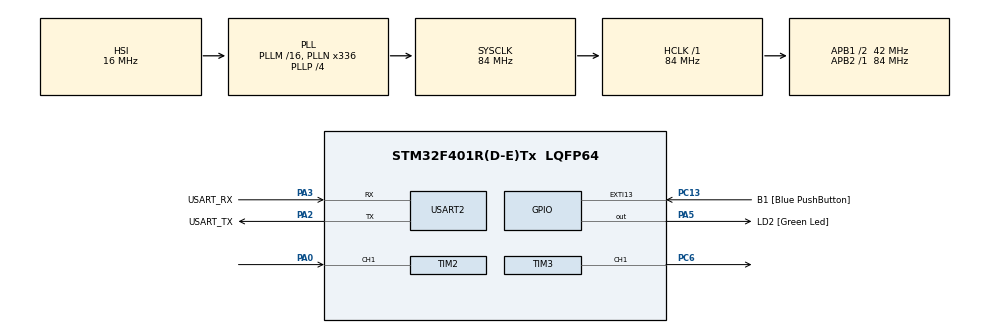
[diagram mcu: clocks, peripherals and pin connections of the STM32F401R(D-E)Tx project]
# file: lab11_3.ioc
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Mcu.Family=STM32F4
Mcu.Name=STM32F401R(D-E)Tx
Mcu.Package=LQFP64
NVIC.PriorityGroup=NVIC_PRIORITYGROUP_0
NVIC.TIM2_IRQn=true\:0\:0\:false\:false\:true\:true\:true
NVIC.TIM3_IRQn=true\:0\:0\:false\:false\:true\:true\:true
NVIC.USART2_IRQn=true\:0\:0\:false\:false\:true\:true\:true
PA0-WKUP.Signal=S_TIM2_CH1_ETR
PA13.GPIO_Label=TMS
PA13.Mode=Serial_Wire
PA13.Signal=SYS_JTMS-SWDIO
PA14.GPIO_Label=TCK
PA14.Mode=Serial_Wire
PA14.Signal=SYS_JTCK-SWCLK
PA2.GPIO_Label=USART_TX
PA2.GPIO_Mode=GPIO_MODE_AF_PP
PA2.GPIO_PuPd=GPIO_NOPULL
PA2.GPIO_Speed=GPIO_SPEED_FREQ_LOW
PA2.Mode=Asynchronous
PA2.Signal=USART2_TX
PA3.GPIO_Label=USART_RX
PA3.GPIO_Mode=GPIO_MODE_AF_PP
PA3.GPIO_PuPd=GPIO_NOPULL
PA3.GPIO_Speed=GPIO_SPEED_FREQ_LOW
PA3.Mode=Asynchronous
PA3.Signal=USART2_RX
PA5.GPIO_Label=LD2 [Green Led]
PA5.GPIO_Mode=GPIO_MODE_OUTPUT_PP
PA5.GPIO_PuPd=GPIO_NOPULL
PA5.GPIO_Speed=GPIO_SPEED_FREQ_LOW
PA5.Signal=GPIO_Output
PB3.GPIO_Label=SWO
PB3.Signal=SYS_JTDO-SWO
PC13-ANTI_TAMP.GPIO_Label=B1 [Blue PushButton]
PC13-ANTI_TAMP.GPIO_ModeDefaultEXTI=GPIO_MODE_IT_FALLING
PC13-ANTI_TAMP.GPIO_PuPd=GPIO_NOPULL
PC13-ANTI_TAMP.Signal=GPXTI13
PC14-OSC32_IN.Mode=LSE-External-Oscillator
PC14-OSC32_IN.Signal=RCC_OSC32_IN
PC15-OSC32_OUT.Mode=LSE-External-Oscillator
PC15-OSC32_OUT.Signal=RCC_OSC32_OUT
PC6.Signal=S_TIM3_CH1
PH0\ -\ OSC_IN.Mode=HSE-External-Clock-Source
PH0\ -\ OSC_IN.Signal=RCC_OSC_IN
PH1\ -\ OSC_OUT.Mode=HSE-External-Clock-Source
PH1\ -\ OSC_OUT.Signal=RCC_OSC_OUT
ProjectManager.HeapSize=0x200
ProjectManager.StackSize=0x400
ProjectManager.TargetToolchain=STM32CubeIDE
RCC.48MHZClocksFreq_Value=48000000
RCC.AHBFreq_Value=84000000
RCC.APB1CLKDivider=RCC_HCLK_DIV2
RCC.APB1Freq_Value=42000000
RCC.APB1TimFreq_Value=84000000
RCC.APB2Freq_Value=84000000
RCC.APB2TimFreq_Value=84000000
RCC.CortexFreq_Value=84000000
RCC.HCLKFreq_Value=84000000
RCC.HSE_VALUE=8000000
RCC.HSI_VALUE=16000000
RCC.PLLN=336
RCC.PLLP=RCC_PLLP_DIV4
RCC.PLLQ=7
RCC.SYSCLKFreq_VALUE=84000000
RCC.SYSCLKSource=RCC_SYSCLKSOURCE_PLLCLK
RCC.VCOOutputFreq_Value=336000000
SH.S_TIM2_CH1_ETR.0=TIM2_CH1,Input_Capture1_from_TI1
SH.S_TIM3_CH1.0=TIM3_CH1,PWM Generation1 CH1
TIM2.Channel-Input_Capture1_from_TI1=TIM_CHANNEL_1
TIM2.Period=84000000
TIM3.Channel-PWM\ Generation1\ CH1=TIM_CHANNEL_1
TIM3.Period=42000
TIM3.Prescaler=10
TIM3.TIM_MasterOutputTrigger=TIM_TRGO_UPDATE
USART2.VirtualMode=VM_ASYNC
VP_TIM2_VS_ClockSourceINT.Mode=Internal
VP_TIM3_VS_ClockSourceINT.Mode=Internal
board=NUCLEO-F401RE

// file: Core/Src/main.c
/* USER CODE BEGIN Header */
/**
  ******************************************************************************
  * @file           : main.c
  * @brief          : Main program body
  ******************************************************************************
  * @attention
  *
  * Copyright (c) 2023 STMicroelectronics.
  * All rights reserved.
  *
  * This software is licensed under terms that can be found in the LICENSE file
  * in the root directory of this software component.
  * If no LICENSE file comes with this software, it is provided AS-IS.
  *
  ******************************************************************************
  */
/* USER CODE END Header */
#include "main.h"

/* USER CODE BEGIN Includes */
#include <string.h>

/* USER CODE END Includes */

/* USER CODE BEGIN PD */
#define KP 100.0
#define KI 10
#define DT 0.0054
#define KD 0.0
/* USER CODE END PD */

TIM_HandleTypeDef htim2;
TIM_HandleTypeDef htim3;

UART_HandleTypeDef huart2;

/* USER CODE BEGIN PV */
volatile float freq, oldError, setpoint,i;
volatile uint8_t newFreq, correctlyReceivedData, correctlySentData, less1Hz;

/* USER CODE END PV */

void SystemClock_Config(void);
static void MX_GPIO_Init(void);
static void MX_USART2_UART_Init(void);
static void MX_TIM2_Init(void);
static void MX_TIM3_Init(void);

int main(void)
{

  /* MCU Configuration--------------------------------------------------------*/

  /* Reset of all peripherals, Initializes the Flash interface and the Systick. */
  HAL_Init();

  /* Configure the system clock */
  SystemClock_Config();

  /* Initialize all configured peripherals */
  MX_GPIO_Init();
  MX_USART2_UART_Init();
  MX_TIM2_Init();
  MX_TIM3_Init();
  /* USER CODE BEGIN 2 */
  __HAL_TIM_ENABLE_IT(&htim2, TIM_IT_UPDATE );
  HAL_TIM_IC_Start_IT(&htim3,TIM_CHANNEL_1);
  HAL_TIM_IC_Start_IT(&htim2,TIM_CHANNEL_1);
  HAL_TIM_PWM_Start(&htim3,TIM_CHANNEL_1);
  __HAL_TIM_SET_COMPARE(&htim3,TIM_CHANNEL_1,420);
  char character[25];
  HAL_UART_Receive_IT(&huart2, character, sizeof(character));
  setpoint = 30;
  uint8_t canSend = 1;

  /* USER CODE END 2 */

  /* Infinite loop */
  /* USER CODE BEGIN WHILE */
  while (1)
  {
	  if(newFreq && freq < 100){
		  newFreq = 0;
		  unsigned int frqI = round(freq);
		  char buffer[11]= "Speed: 00\n";
		  uint8_t SpeedD = frqI/10;
		  uint8_t SpeedU = frqI-10*SpeedD;
		  buffer[7] = SpeedD + 0x30;
		  buffer[8] = SpeedU + 0x30;
		  //sprintf(buffer, 'Speed: %u', frqI);
		  if(canSend) HAL_UART_Transmit_IT(&huart2, buffer, sizeof(buffer));
	  }

	  if(correctlyReceivedData){
		  correctlyReceivedData = 0;
		  if(character[19]>= 0x30 && character[19]<= 0x39 && character[18]>= 0x30 && character[18]<= 0x39 ){
			  setpoint = (character[19] -0x30) + 10 * (character[18] -0x30);
		  }
		  HAL_UART_Receive_IT(&huart2, character, sizeof(character));

	  }

	  if(correctlySentData){
		  correctlySentData = 0;
		  canSend = 1;
	  }

    /* USER CODE END WHILE */

  }
}

void SystemClock_Config(void)
{
  RCC_OscInitTypeDef RCC_OscInitStruct = {0};
  RCC_ClkInitTypeDef RCC_ClkInitStruct = {0};

  /** Configure the main internal regulator output voltage
  */
  __HAL_RCC_PWR_CLK_ENABLE();
  __HAL_PWR_VOLTAGESCALING_CONFIG(PWR_REGULATOR_VOLTAGE_SCALE2);
  /** Initializes the RCC Oscillators according to the specified parameters
  * in the RCC_OscInitTypeDef structure.
  */
  RCC_OscInitStruct.OscillatorType = RCC_OSCILLATORTYPE_HSI;
  RCC_OscInitStruct.HSIState = RCC_HSI_ON;
  RCC_OscInitStruct.HSICalibrationValue = RCC_HSICALIBRATION_DEFAULT;
  RCC_OscInitStruct.PLL.PLLState = RCC_PLL_ON;
  RCC_OscInitStruct.PLL.PLLSource = RCC_PLLSOURCE_HSI;
  RCC_OscInitStruct.PLL.PLLM = 16;
  RCC_OscInitStruct.PLL.PLLN = 336;
  RCC_OscInitStruct.PLL.PLLP = RCC_PLLP_DIV4;
  RCC_OscInitStruct.PLL.PLLQ = 7;
  if (HAL_RCC_OscConfig(&RCC_OscInitStruct) != HAL_OK)
  {
    Error_Handler();
  }
  /** Initializes the CPU, AHB and APB buses clocks
  */
  RCC_ClkInitStruct.ClockType = RCC_CLOCKTYPE_HCLK|RCC_CLOCKTYPE_SYSCLK
                              |RCC_CLOCKTYPE_PCLK1|RCC_CLOCKTYPE_PCLK2;
  RCC_ClkInitStruct.SYSCLKSource = RCC_SYSCLKSOURCE_PLLCLK;
  RCC_ClkInitStruct.AHBCLKDivider = RCC_SYSCLK_DIV1;
  RCC_ClkInitStruct.APB1CLKDivider = RCC_HCLK_DIV2;
  RCC_ClkInitStruct.APB2CLKDivider = RCC_HCLK_DIV1;

  if (HAL_RCC_ClockConfig(&RCC_ClkInitStruct, FLASH_LATENCY_2) != HAL_OK)
  {
    Error_Handler();
  }
}

static void MX_TIM2_Init(void)
{

  TIM_ClockConfigTypeDef sClockSourceConfig = {0};
  TIM_MasterConfigTypeDef sMasterConfig = {0};
  TIM_IC_InitTypeDef sConfigIC = {0};

  htim2.Instance = TIM2;
  htim2.Init.Prescaler = 0;
  htim2.Init.CounterMode = TIM_COUNTERMODE_UP;
  htim2.Init.Period = 84000000;
  htim2.Init.ClockDivision = TIM_CLOCKDIVISION_DIV1;
  htim2.Init.AutoReloadPreload = TIM_AUTORELOAD_PRELOAD_DISABLE;
  if (HAL_TIM_Base_Init(&htim2) != HAL_OK)
  {
    Error_Handler();
  }
  sClockSourceConfig.ClockSource = TIM_CLOCKSOURCE_INTERNAL;
  if (HAL_TIM_ConfigClockSource(&htim2, &sClockSourceConfig) != HAL_OK)
  {
    Error_Handler();
  }
  if (HAL_TIM_IC_Init(&htim2) != HAL_OK)
  {
    Error_Handler();
  }
  sMasterConfig.MasterOutputTrigger = TIM_TRGO_RESET;
  sMasterConfig.MasterSlaveMode = TIM_MASTERSLAVEMODE_DISABLE;
  if (HAL_TIMEx_MasterConfigSynchronization(&htim2, &sMasterConfig) != HAL_OK)
  {
    Error_Handler();
  }
  sConfigIC.ICPolarity = TIM_INPUTCHANNELPOLARITY_RISING;
  sConfigIC.ICSelection = TIM_ICSELECTION_DIRECTTI;
  sConfigIC.ICPrescaler = TIM_ICPSC_DIV1;
  sConfigIC.ICFilter = 0;
  if (HAL_TIM_IC_ConfigChannel(&htim2, &sConfigIC, TIM_CHANNEL_1) != HAL_OK)
  {
    Error_Handler();
  }

}

static void MX_TIM3_Init(void)
{

  TIM_ClockConfigTypeDef sClockSourceConfig = {0};
  TIM_MasterConfigTypeDef sMasterConfig = {0};
  TIM_OC_InitTypeDef sConfigOC = {0};

  htim3.Instance = TIM3;
  htim3.Init.Prescaler = 10;
  htim3.Init.CounterMode = TIM_COUNTERMODE_UP;
  htim3.Init.Period = 42000;
  htim3.Init.ClockDivision = TIM_CLOCKDIVISION_DIV1;
  htim3.Init.AutoReloadPreload = TIM_AUTORELOAD_PRELOAD_DISABLE;
  if (HAL_TIM_Base_Init(&htim3) != HAL_OK)
  {
    Error_Handler();
  }
  sClockSourceConfig.ClockSource = TIM_CLOCKSOURCE_INTERNAL;
  if (HAL_TIM_ConfigClockSource(&htim3, &sClockSourceConfig) != HAL_OK)
  {
    Error_Handler();
  }
  if (HAL_TIM_PWM_Init(&htim3) != HAL_OK)
  {
    Error_Handler();
  }
  sMasterConfig.MasterOutputTrigger = TIM_TRGO_UPDATE;
  sMasterConfig.MasterSlaveMode = TIM_MASTERSLAVEMODE_DISABLE;
  if (HAL_TIMEx_MasterConfigSynchronization(&htim3, &sMasterConfig) != HAL_OK)
  {
    Error_Handler();
  }
  sConfigOC.OCMode = TIM_OCMODE_PWM1;
  sConfigOC.Pulse = 0;
  sConfigOC.OCPolarity = TIM_OCPOLARITY_HIGH;
  sConfigOC.OCFastMode = TIM_OCFAST_DISABLE;
  if (HAL_TIM_PWM_ConfigChannel(&htim3, &sConfigOC, TIM_CHANNEL_1) != HAL_OK)
  {
    Error_Handler();
  }
  HAL_TIM_MspPostInit(&htim3);

}

static void MX_USART2_UART_Init(void)
{

  huart2.Instance = USART2;
  huart2.Init.BaudRate = 115200;
  huart2.Init.WordLength = UART_WORDLENGTH_8B;
  huart2.Init.StopBits = UART_STOPBITS_1;
  huart2.Init.Parity = UART_PARITY_NONE;
  huart2.Init.Mode = UART_MODE_TX_RX;
  huart2.Init.HwFlowCtl = UART_HWCONTROL_NONE;
  huart2.Init.OverSampling = UART_OVERSAMPLING_16;
  if (HAL_UART_Init(&huart2) != HAL_OK)
  {
    Error_Handler();
  }

}

static void MX_GPIO_Init(void)
{
  GPIO_InitTypeDef GPIO_InitStruct = {0};

  /* GPIO Ports Clock Enable */
  __HAL_RCC_GPIOC_CLK_ENABLE();
  __HAL_RCC_GPIOH_CLK_ENABLE();
  __HAL_RCC_GPIOA_CLK_ENABLE();
  __HAL_RCC_GPIOB_CLK_ENABLE();

  /*Configure GPIO pin Output Level */
  HAL_GPIO_WritePin(LD2_GPIO_Port, LD2_Pin, GPIO_PIN_RESET);

  /*Configure GPIO pin : B1_Pin */
  GPIO_InitStruct.Pin = B1_Pin;
  GPIO_InitStruct.Mode = GPIO_MODE_IT_FALLING;
  GPIO_InitStruct.Pull = GPIO_NOPULL;
  HAL_GPIO_Init(B1_GPIO_Port, &GPIO_InitStruct);

  /*Configure GPIO pin : LD2_Pin */
  GPIO_InitStruct.Pin = LD2_Pin;
  GPIO_InitStruct.Mode = GPIO_MODE_OUTPUT_PP;
  GPIO_InitStruct.Pull = GPIO_NOPULL;
  GPIO_InitStruct.Speed = GPIO_SPEED_FREQ_LOW;
  HAL_GPIO_Init(LD2_GPIO_Port, &GPIO_InitStruct);

}

/* USER CODE BEGIN 4 */
void HAL_UART_TxCpltCallback (UART_HandleTypeDef *huart){
	correctlySentData = 1;
}

void HAL_UART_RxCpltCallback (UART_HandleTypeDef *huart){
	correctlyReceivedData = 1;
}

uint32_t capture, oldcapture;

void HAL_TIM_IC_CaptureCallback(TIM_HandleTypeDef *htim){
	if(htim == &htim2){
		capture = HAL_TIM_ReadCapturedValue(htim, TIM_CHANNEL_1);
		uint32_t T;
		T = capture - oldcapture;
		float fin = (1.0/(T*1.19E-8));
		if(fin > 0.6) freq= (1.0/(T*1.19E-8));
		oldcapture = capture;
		newFreq = 1;
		less1Hz = 0;
	}
}

void HAL_TIM_PeriodElapsedCallback (TIM_HandleTypeDef *htim){
  if (htim == &htim2){
	  if(less1Hz){
		  freq = 0;
		  newFreq = 1;
	  }
	  less1Hz = 1;
  }

}

void HAL_TIM_PWM_PulseFinishedCallback(TIM_HandleTypeDef *htim){
	if (htim == &htim3)
	  {
	      float error = setpoint - freq;
	      float p = KP * error;
	      i = i + KI * DT * error;
	      if(i<-1000) i = -1000;
	      if(i>1000) i = 1000;
	      float d = KD * (error-oldError)/DT;
	      oldError = error;
	      float cval= p + i + d;
	      if(cval >= 1000) cval = 999;
	      if(cval <= 0) cval = 1;
	      __HAL_TIM_SET_COMPARE(&htim3,TIM_CHANNEL_1,cval*42);

	  }
}

/* USER CODE END 4 */

void Error_Handler(void)
{
  __disable_irq();
  while (1)
  {
  }
}
